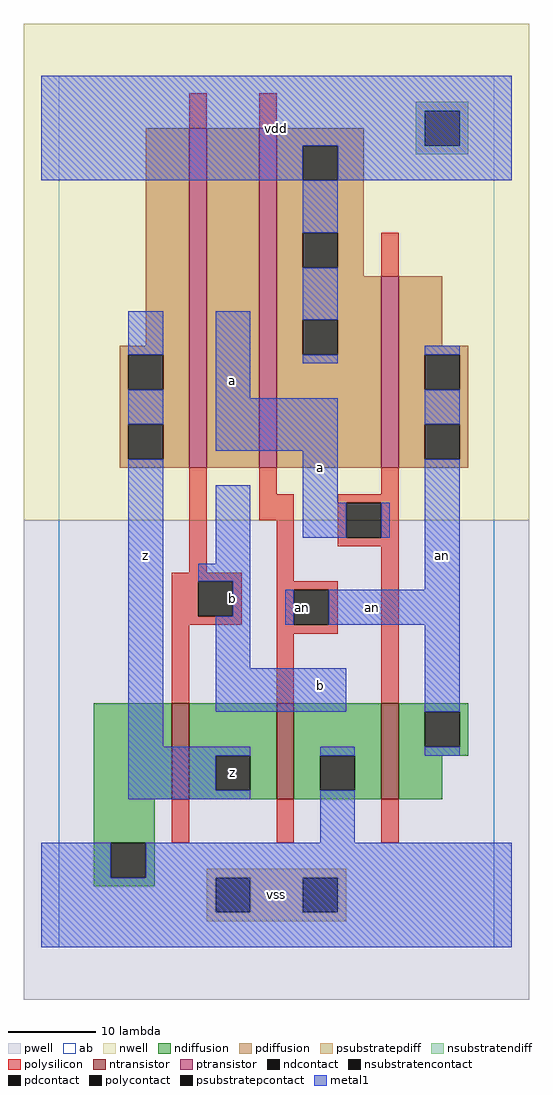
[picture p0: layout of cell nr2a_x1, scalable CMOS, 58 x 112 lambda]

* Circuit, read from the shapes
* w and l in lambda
.subckt nr2a_x1 a an b vdd vss z
M1 z b vss vss nfet w=11 l=2
M2 vss an z vss nfet w=11 l=2
M3 an a vss vss nfet w=11 l=2
M4 n1 b z vdd pfet w=39 l=2
M5 vdd an n1 vdd pfet w=39 l=2
M6 an a vdd vdd pfet w=22 l=2
.ends

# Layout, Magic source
magic
tech scmos
<< ab >>
rect 0 0 50 100
<< pwell >>
rect -4 -6 54 49
<< nwell >>
rect -4 49 54 106
<< polysilicon >>
rect 15 94 17 98
rect 23 94 25 98
rect 37 77 39 82
rect 15 43 17 55
rect 23 52 25 55
rect 37 52 39 55
rect 23 49 27 52
rect 13 42 21 43
rect 13 38 16 42
rect 20 38 21 42
rect 13 37 21 38
rect 25 42 27 49
rect 32 51 39 52
rect 32 47 33 51
rect 37 47 39 51
rect 32 46 39 47
rect 25 41 32 42
rect 25 37 27 41
rect 31 37 32 41
rect 13 28 15 37
rect 25 36 32 37
rect 25 28 27 36
rect 37 28 39 46
rect 13 12 15 17
rect 25 12 27 17
rect 37 12 39 17
<< ndiffusion >>
rect 4 17 13 28
rect 15 22 25 28
rect 15 18 18 22
rect 22 18 25 22
rect 15 17 25 18
rect 27 22 37 28
rect 27 18 30 22
rect 34 18 37 22
rect 27 17 37 18
rect 39 27 47 28
rect 39 23 42 27
rect 46 23 47 27
rect 39 22 47 23
rect 39 17 44 22
rect 4 12 11 17
rect 4 8 6 12
rect 10 8 11 12
rect 4 7 11 8
<< pdiffusion >>
rect 10 69 15 94
rect 7 68 15 69
rect 7 64 8 68
rect 12 64 15 68
rect 7 60 15 64
rect 7 56 8 60
rect 12 56 15 60
rect 7 55 15 56
rect 17 55 23 94
rect 25 92 35 94
rect 25 88 28 92
rect 32 88 35 92
rect 25 82 35 88
rect 25 78 28 82
rect 32 78 35 82
rect 25 77 35 78
rect 25 72 37 77
rect 25 68 28 72
rect 32 68 37 72
rect 25 55 37 68
rect 39 69 44 77
rect 39 68 47 69
rect 39 64 42 68
rect 46 64 47 68
rect 39 60 47 64
rect 39 56 42 60
rect 46 56 47 60
rect 39 55 47 56
<< metal1 >>
rect -2 92 52 100
rect -2 88 28 92
rect 32 88 52 92
rect 28 82 32 88
rect 8 68 12 73
rect 8 60 12 64
rect 18 63 22 73
rect 28 72 32 78
rect 28 67 32 68
rect 42 68 46 69
rect 18 57 32 63
rect 8 23 12 56
rect 18 44 22 53
rect 28 51 32 57
rect 42 60 46 64
rect 28 47 33 51
rect 37 47 38 51
rect 16 42 22 44
rect 20 38 22 42
rect 42 41 46 56
rect 18 32 22 38
rect 26 37 27 41
rect 31 37 46 41
rect 18 27 33 32
rect 42 27 46 37
rect 8 22 22 23
rect 8 18 18 22
rect 8 17 22 18
rect 30 22 34 23
rect 42 22 46 23
rect 30 12 34 18
rect -2 8 6 12
rect 10 8 52 12
rect -2 0 52 8
<< ntransistor >>
rect 13 17 15 28
rect 25 17 27 28
rect 37 17 39 28
<< ptransistor >>
rect 15 55 17 94
rect 23 55 25 94
rect 37 55 39 77
<< polycontact >>
rect 16 38 20 42
rect 33 47 37 51
rect 27 37 31 41
<< ndcontact >>
rect 18 18 22 22
rect 30 18 34 22
rect 42 23 46 27
rect 6 8 10 12
<< pdcontact >>
rect 8 64 12 68
rect 8 56 12 60
rect 28 88 32 92
rect 28 78 32 82
rect 28 68 32 72
rect 42 64 46 68
rect 42 56 46 60
<< psubstratepcontact >>
rect 18 4 22 8
rect 28 4 32 8
<< nsubstratencontact >>
rect 42 92 46 96
<< psubstratepdiff >>
rect 17 8 33 9
rect 17 4 18 8
rect 22 4 28 8
rect 32 4 33 8
rect 17 3 33 4
<< nsubstratendiff >>
rect 41 96 47 97
rect 41 92 42 96
rect 46 92 47 96
rect 41 91 47 92
<< labels >>
rlabel polycontact 28 39 28 39 6 an
rlabel ndcontact 20 20 20 20 6 z
rlabel ndcontact 20 20 20 20 6 z
rlabel metal1 10 45 10 45 6 z
rlabel metal1 10 45 10 45 6 z
rlabel metal1 20 40 20 40 6 b
rlabel metal1 20 40 20 40 6 b
rlabel metal1 20 65 20 65 6 a
rlabel metal1 20 65 20 65 6 a
rlabel metal1 25 6 25 6 6 vss
rlabel metal1 25 6 25 6 6 vss
rlabel metal1 30 30 30 30 6 b
rlabel metal1 30 30 30 30 6 b
rlabel metal1 30 55 30 55 6 a
rlabel metal1 30 55 30 55 6 a
rlabel metal1 25 94 25 94 6 vdd
rlabel metal1 25 94 25 94 6 vdd
rlabel metal1 36 39 36 39 6 an
rlabel metal1 44 45 44 45 6 an
<< end >>
